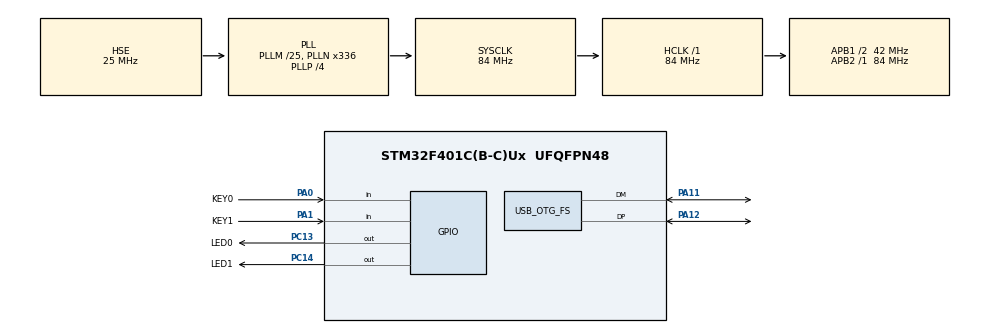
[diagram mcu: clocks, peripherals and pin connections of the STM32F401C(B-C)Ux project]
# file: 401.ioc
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FREERTOS.Tasks01=LED0,24,128,StartDefaultTask,Default,NULL,Dynamic,NULL,NULL;LED1,8,128,LED1_task,Default,NULL,Dynamic,NULL,NULL
Mcu.Family=STM32F4
Mcu.Name=STM32F401C(B-C)Ux
Mcu.Package=UFQFPN48
NVIC.OTG_FS_IRQn=true\:5\:0\:false\:false\:true\:true\:false\:true\:true
NVIC.PriorityGroup=NVIC_PRIORITYGROUP_4
NVIC.TIM1_UP_TIM10_IRQn=true\:15\:0\:false\:false\:true\:false\:false\:true\:true
NVIC.TimeBase=TIM1_UP_TIM10_IRQn
NVIC.TimeBaseIP=TIM10
PA0-WKUP.GPIO_Label=KEY0
PA0-WKUP.GPIO_PuPd=GPIO_PULLUP
PA0-WKUP.Signal=GPIO_Input
PA1.GPIO_Label=KEY1
PA1.GPIO_PuPd=GPIO_PULLUP
PA1.Signal=GPIO_Input
PA11.Mode=Device_Only
PA11.Signal=USB_OTG_FS_DM
PA12.Mode=Device_Only
PA12.Signal=USB_OTG_FS_DP
PA13.Mode=Serial_Wire
PA13.Signal=SYS_JTMS-SWDIO
PA14.Mode=Serial_Wire
PA14.Signal=SYS_JTCK-SWCLK
PC13-ANTI_TAMP.GPIO_Label=LED0
PC13-ANTI_TAMP.Signal=GPIO_Output
PC14-OSC32_IN.GPIO_Label=LED1
PC14-OSC32_IN.Signal=GPIO_Output
PH0\ -\ OSC_IN.Mode=HSE-External-Oscillator
PH0\ -\ OSC_IN.Signal=RCC_OSC_IN
PH1\ -\ OSC_OUT.Mode=HSE-External-Oscillator
PH1\ -\ OSC_OUT.Signal=RCC_OSC_OUT
ProjectManager.HeapSize=0x200
ProjectManager.StackSize=0x400
ProjectManager.TargetToolchain=MDK-ARM V5.32
RCC.48MHZClocksFreq_Value=48000000
RCC.AHBFreq_Value=84000000
RCC.APB1CLKDivider=RCC_HCLK_DIV2
RCC.APB1Freq_Value=42000000
RCC.APB1TimFreq_Value=84000000
RCC.APB2Freq_Value=84000000
RCC.APB2TimFreq_Value=84000000
RCC.CortexFreq_Value=84000000
RCC.EnbaleCSS=true
RCC.HCLKFreq_Value=84000000
RCC.HSE_VALUE=25000000
RCC.HSI_VALUE=16000000
RCC.LSE_VALUE=32768
RCC.PLLM=25
RCC.PLLN=336
RCC.PLLP=RCC_PLLP_DIV4
RCC.PLLQ=7
RCC.SYSCLKFreq_VALUE=84000000
RCC.SYSCLKSource=RCC_SYSCLKSOURCE_PLLCLK
RCC.VCOOutputFreq_Value=336000000
USB_DEVICE.CLASS_NAME_FS=CUSTOM_HID
USB_DEVICE.MANUFACTURER_STRING=STM32
USB_DEVICE.PID_CUSTOMHID_FS=0x57FA
USB_DEVICE.USBD_CUSTOMHID_OUTREPORT_BUF_SIZE=10
USB_DEVICE.USBD_CUSTOM_HID_REPORT_DESC_SIZE=23
USB_DEVICE.USBD_SELF_POWERED=0
USB_DEVICE.VirtualMode=CustomHid
USB_DEVICE.VirtualModeFS=Custom_Hid_FS
USB_OTG_FS.VirtualMode=Device_Only
VP_FREERTOS_VS_CMSIS_V2.Mode=CMSIS_V2
VP_SYS_VS_tim10.Mode=TIM10
VP_USB_DEVICE_VS_USB_DEVICE_CUSTOM_HID_FS.Mode=CUSTOM_HID_FS
board=custom

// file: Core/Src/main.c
/* USER CODE BEGIN Header */
/**
  ******************************************************************************
  * @file           : main.c
  * @brief          : Main program body
  ******************************************************************************
  * @attention
  *
  * Copyright (c) 2023 STMicroelectronics.
  * All rights reserved.
  *
  * This software is licensed under terms that can be found in the LICENSE file
  * in the root directory of this software component.
  * If no LICENSE file comes with this software, it is provided AS-IS.
  *
  ******************************************************************************
  */
/* USER CODE END Header */
#include "main.h"
#include "cmsis_os.h"
#include "usb_device.h"

/* USER CODE BEGIN Includes */
#include "usbd_customhid.h"
/* USER CODE END Includes */

/* Definitions for LED0 */
osThreadId_t LED0Handle;
const osThreadAttr_t LED0_attributes = {
  .name = "LED0",
  .stack_size = 128 * 4,
  .priority = (osPriority_t) osPriorityNormal,
};
/* Definitions for LED1 */
osThreadId_t LED1Handle;
const osThreadAttr_t LED1_attributes = {
  .name = "LED1",
  .stack_size = 128 * 4,
  .priority = (osPriority_t) osPriorityLow,
};
/* USER CODE BEGIN PV */
extern USBD_HandleTypeDef  hUsbDeviceFS;
uint8_t dataToSend[8];
/* USER CODE END PV */

void SystemClock_Config(void);
static void MX_GPIO_Init(void);
void StartDefaultTask(void *argument);
void LED1_task(void *argument);

int main(void)
{

  /* MCU Configuration--------------------------------------------------------*/

  /* Reset of all peripherals, Initializes the Flash interface and the Systick. */
  HAL_Init();

  /* Configure the system clock */
  SystemClock_Config();

  /* Initialize all configured peripherals */
  MX_GPIO_Init();

  /* Init scheduler */
  osKernelInitialize();

  /* Create the thread(s) */
  /* creation of LED0 */
  LED0Handle = osThreadNew(StartDefaultTask, NULL, &LED0_attributes);

  /* creation of LED1 */
  LED1Handle = osThreadNew(LED1_task, NULL, &LED1_attributes);

  /* Start scheduler */
  osKernelStart();
  /* We should never get here as control is now taken by the scheduler */
  /* Infinite loop */
  while (1)
  {

  }
}

void SystemClock_Config(void)
{
  RCC_OscInitTypeDef RCC_OscInitStruct = {0};
  RCC_ClkInitTypeDef RCC_ClkInitStruct = {0};

  /** Configure the main internal regulator output voltage
  */
  __HAL_RCC_PWR_CLK_ENABLE();
  __HAL_PWR_VOLTAGESCALING_CONFIG(PWR_REGULATOR_VOLTAGE_SCALE2);

  /** Initializes the RCC Oscillators according to the specified parameters
  * in the RCC_OscInitTypeDef structure.
  */
  RCC_OscInitStruct.OscillatorType = RCC_OSCILLATORTYPE_HSE;
  RCC_OscInitStruct.HSEState = RCC_HSE_ON;
  RCC_OscInitStruct.PLL.PLLState = RCC_PLL_ON;
  RCC_OscInitStruct.PLL.PLLSource = RCC_PLLSOURCE_HSE;
  RCC_OscInitStruct.PLL.PLLM = 25;
  RCC_OscInitStruct.PLL.PLLN = 336;
  RCC_OscInitStruct.PLL.PLLP = RCC_PLLP_DIV4;
  RCC_OscInitStruct.PLL.PLLQ = 7;
  if (HAL_RCC_OscConfig(&RCC_OscInitStruct) != HAL_OK)
  {
    Error_Handler();
  }

  /** Initializes the CPU, AHB and APB buses clocks
  */
  RCC_ClkInitStruct.ClockType = RCC_CLOCKTYPE_HCLK|RCC_CLOCKTYPE_SYSCLK
                              |RCC_CLOCKTYPE_PCLK1|RCC_CLOCKTYPE_PCLK2;
  RCC_ClkInitStruct.SYSCLKSource = RCC_SYSCLKSOURCE_PLLCLK;
  RCC_ClkInitStruct.AHBCLKDivider = RCC_SYSCLK_DIV1;
  RCC_ClkInitStruct.APB1CLKDivider = RCC_HCLK_DIV2;
  RCC_ClkInitStruct.APB2CLKDivider = RCC_HCLK_DIV1;

  if (HAL_RCC_ClockConfig(&RCC_ClkInitStruct, FLASH_LATENCY_2) != HAL_OK)
  {
    Error_Handler();
  }

  /** Enables the Clock Security System
  */
  HAL_RCC_EnableCSS();
}

static void MX_GPIO_Init(void)
{
  GPIO_InitTypeDef GPIO_InitStruct = {0};

  /* GPIO Ports Clock Enable */
  __HAL_RCC_GPIOC_CLK_ENABLE();
  __HAL_RCC_GPIOH_CLK_ENABLE();
  __HAL_RCC_GPIOA_CLK_ENABLE();

  /*Configure GPIO pin Output Level */
  HAL_GPIO_WritePin(GPIOC, LED0_Pin|LED1_Pin, GPIO_PIN_RESET);

  /*Configure GPIO pins : LED0_Pin LED1_Pin */
  GPIO_InitStruct.Pin = LED0_Pin|LED1_Pin;
  GPIO_InitStruct.Mode = GPIO_MODE_OUTPUT_PP;
  GPIO_InitStruct.Pull = GPIO_NOPULL;
  GPIO_InitStruct.Speed = GPIO_SPEED_FREQ_LOW;
  HAL_GPIO_Init(GPIOC, &GPIO_InitStruct);

  /*Configure GPIO pins : KEY0_Pin KEY1_Pin */
  GPIO_InitStruct.Pin = KEY0_Pin|KEY1_Pin;
  GPIO_InitStruct.Mode = GPIO_MODE_INPUT;
  GPIO_InitStruct.Pull = GPIO_PULLUP;
  HAL_GPIO_Init(GPIOA, &GPIO_InitStruct);

}

void StartDefaultTask(void *argument)
{
  /* init code for USB_DEVICE */
  MX_USB_DEVICE_Init();
  /* USER CODE BEGIN 5 */
  /* Infinite loop */
	while(1)
	{
		HAL_GPIO_TogglePin(LED1_GPIO_Port,LED1_Pin);
		vTaskDelay(1000);
	}
  /* USER CODE END 5 */
}

void LED1_task(void *argument)
{
  /* USER CODE BEGIN LED1_task */
  /* Infinite loop */
	while(1)
	{
		if(HAL_GPIO_ReadPin(KEY0_GPIO_Port,KEY0_Pin)==GPIO_PIN_RESET)
		{
			HAL_GPIO_WritePin(LED0_GPIO_Port,LED0_Pin,GPIO_PIN_RESET);
			vTaskSuspend(LED0Handle);
			dataToSend[0]=1;
		}
		else
		{
			HAL_GPIO_WritePin(LED0_GPIO_Port,LED0_Pin,GPIO_PIN_SET);
			vTaskResume(LED0Handle);
			dataToSend[0]=0;
		}
		USBD_CUSTOM_HID_SendReport(&hUsbDeviceFS, dataToSend, 8);
		vTaskDelay(100);
		//osDelay(50);

	}
  /* USER CODE END LED1_task */
}

void HAL_TIM_PeriodElapsedCallback(TIM_HandleTypeDef *htim)
{
  if (htim->Instance == TIM10) {
    HAL_IncTick();
  }
}

void Error_Handler(void)
{
  __disable_irq();
  while (1)
  {
  }
}
